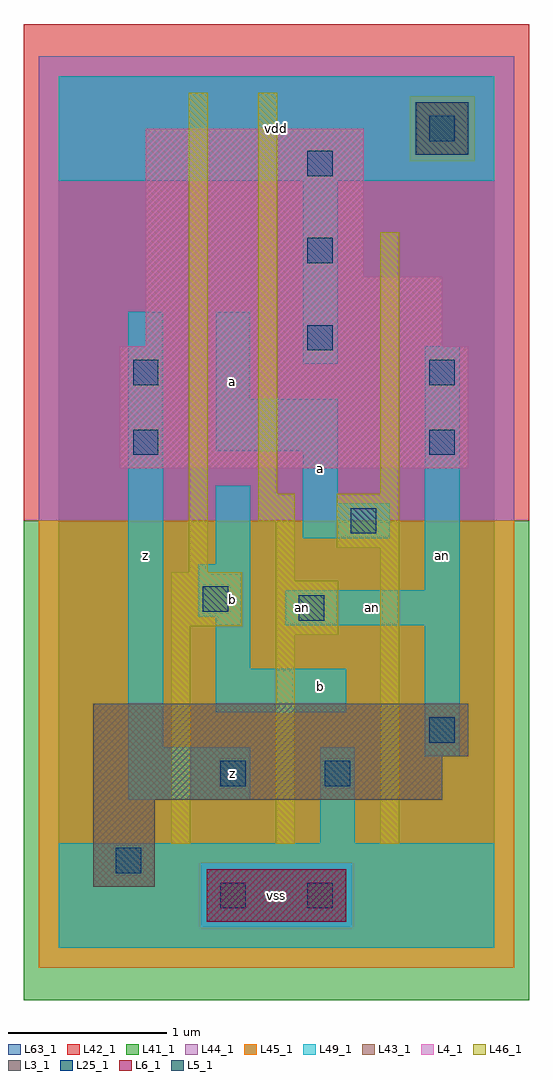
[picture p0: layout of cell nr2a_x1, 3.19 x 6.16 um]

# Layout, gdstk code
import gdstk
lib = gdstk.Library(unit=1e-6, precision=1e-09)
def R(c, l, rs):  # rectangles x0, y0, x1, y1
    for r in rs: c.add(gdstk.rectangle(r[:2], r[2:], *l))
def A(c, l, x, y, w, h, nx, ny, dx, dy):  # array of equal rectangles
    R(c, l, [(x+i*dx, y+j*dy, x+i*dx+w, y+j*dy+h) for i in range(nx) for j in range(ny)])
L3_1 = (3, 1)
L4_1 = (4, 1)
L5_1 = (5, 1)
L6_1 = (6, 1)
L25_1 = (25, 1)
L41_1 = (41, 1)
L42_1 = (42, 1)
L43_1 = (43, 1)
L44_1 = (44, 1)
L45_1 = (45, 1)
L46_1 = (46, 1)
L49_1 = (49, 1)
L63_1 = (63, 1)

nr2a_x1 = lib.new_cell('nr2a_x1')
R(nr2a_x1, L3_1, [(0.22,0.385,0.605,0.935), (0.22,0.935,2.42,1.21), (0.22,1.21,2.585,1.54)])
R(nr2a_x1, L4_1, [(0.385,3.025,2.585,3.795), (0.55,3.795,2.42,4.235), (0.55,4.235,1.925,5.17)])
R(nr2a_x1, L5_1, [(2.255,5.005,2.585,5.335)])
R(nr2a_x1, L6_1, [(0.935,0.165,1.815,0.495)])
A(nr2a_x1, L25_1, 1.57, 3.77, 0.16, 0.16, 1, 3, 0, 0.55)
R(nr2a_x1, L25_1, [(1.02,0.25,1.18,0.41), (1.57,0.25,1.73,0.41), (0.36,0.47,0.52,0.63), (1.02,1.02,1.18,1.18), (1.68,1.02,1.84,1.18), (2.34,1.295,2.5,1.455), (1.515,2.065,1.675,2.225), (0.91,2.12,1.07,2.28), (1.845,2.615,2.005,2.775), (0.47,3.11,0.63,3.27), (2.34,3.11,2.5,3.27), (0.47,3.55,0.63,3.71), (2.34,3.55,2.5,3.71), (2.34,5.09,2.5,5.25)])
R(nr2a_x1, L41_1, [(-0.22,-0.33,2.97,2.695)])
R(nr2a_x1, L42_1, [(-0.22,2.695,2.97,5.83)])
R(nr2a_x1, L43_1, [(0.935,0.165,1.815,0.495), (0.22,0.385,0.605,0.935), (0.22,0.935,2.42,1.21), (0.22,1.21,2.585,1.54), (0.385,3.025,2.585,3.795), (0.55,3.795,2.42,4.235), (0.55,4.235,1.925,5.17), (2.255,5.005,2.585,5.335)])
R(nr2a_x1, L44_1, [(0.895,0.125,1.855,0.535), (-0.125,2.695,2.875,4.965), (-0.125,4.965,2.215,5.375), (2.625,4.965,2.875,5.375), (-0.125,5.375,2.875,5.625)])
R(nr2a_x1, L45_1, [(-0.125,-0.125,2.875,0.125), (-0.125,0.125,0.895,0.535), (1.855,0.125,2.875,0.535), (-0.125,0.535,2.875,2.695), (2.215,4.965,2.625,5.375)])
R(nr2a_x1, L46_1, [(0.71,0.655,0.83,2.03), (1.37,0.655,1.49,1.975), (2.03,0.655,2.15,2.525), (1.37,1.975,1.765,2.315), (0.71,2.03,1.16,2.37), (1.37,2.315,1.49,2.69), (0.82,2.37,0.94,5.395), (1.755,2.525,2.15,2.865), (1.26,2.69,1.49,2.865), (1.26,2.865,1.38,5.395), (2.03,2.865,2.15,4.515)])
R(nr2a_x1, L49_1, [(0,0,2.75,0.66), (1.65,0.66,1.87,1.265), (0.44,0.935,1.21,1.265), (2.31,1.21,2.53,2.035), (0.44,1.265,0.66,4.015), (0.99,1.485,1.815,1.76), (0.99,1.76,1.21,2.09), (1.43,2.035,2.53,2.255), (0.88,2.09,1.21,2.42), (2.31,2.255,2.53,3.795), (0.99,2.42,1.21,2.915), (1.54,2.585,2.09,2.805), (1.54,2.805,1.76,3.135), (0.99,3.135,1.76,3.465), (0.99,3.465,1.21,4.015), (1.54,3.685,1.76,4.84), (0,4.84,2.75,5.5)])
R(nr2a_x1, L63_1, [(0,0,2.75,5.5)])
nr2a_x1.add(gdstk.Label('an', (1.54,2.145), layer=49, texttype=1))
nr2a_x1.add(gdstk.Label('z', (1.1,1.1), layer=49, texttype=1))
nr2a_x1.add(gdstk.Label('z', (1.1,1.1), layer=49, texttype=1))
nr2a_x1.add(gdstk.Label('z', (0.55,2.475), layer=49, texttype=1))
nr2a_x1.add(gdstk.Label('z', (0.55,2.475), layer=49, texttype=1))
nr2a_x1.add(gdstk.Label('b', (1.1,2.2), layer=49, texttype=1))
nr2a_x1.add(gdstk.Label('b', (1.1,2.2), layer=49, texttype=1))
nr2a_x1.add(gdstk.Label('a', (1.1,3.575), layer=49, texttype=1))
nr2a_x1.add(gdstk.Label('a', (1.1,3.575), layer=49, texttype=1))
nr2a_x1.add(gdstk.Label('vss', (1.375,0.33), layer=49, texttype=1))
nr2a_x1.add(gdstk.Label('vss', (1.375,0.33), layer=49, texttype=1))
nr2a_x1.add(gdstk.Label('b', (1.65,1.65), layer=49, texttype=1))
nr2a_x1.add(gdstk.Label('b', (1.65,1.65), layer=49, texttype=1))
nr2a_x1.add(gdstk.Label('a', (1.65,3.025), layer=49, texttype=1))
nr2a_x1.add(gdstk.Label('a', (1.65,3.025), layer=49, texttype=1))
nr2a_x1.add(gdstk.Label('vdd', (1.375,5.17), layer=49, texttype=1))
nr2a_x1.add(gdstk.Label('vdd', (1.375,5.17), layer=49, texttype=1))
nr2a_x1.add(gdstk.Label('an', (1.98,2.145), layer=49, texttype=1))
nr2a_x1.add(gdstk.Label('an', (2.42,2.475), layer=49, texttype=1))

lib.write_gds('nr2a_x1.gds')
